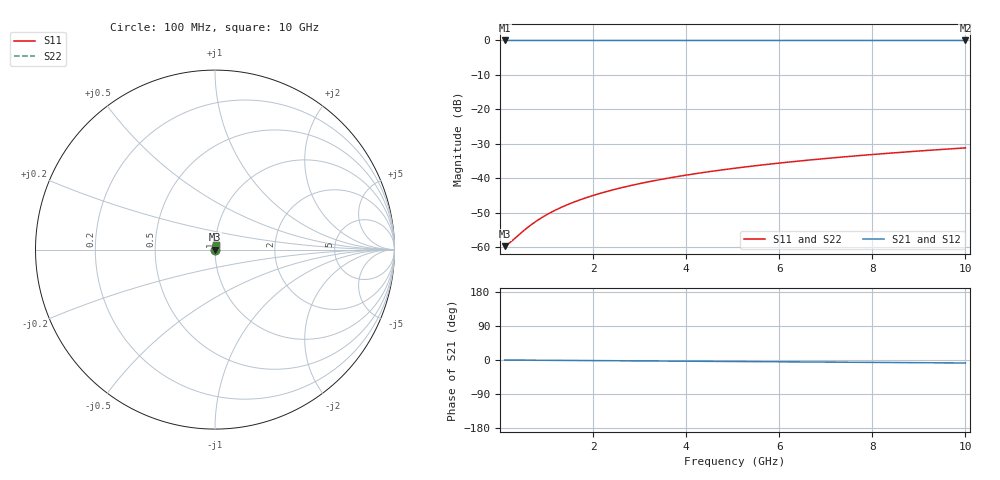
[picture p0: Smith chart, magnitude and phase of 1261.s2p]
# Hz S RI R 50.00
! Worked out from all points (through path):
!   100 points, 100 MHz to 10 GHz, reference 50 ohm
!   highest |S21| = -0.01 dB at 100 MHz (marker M1); lowest = 0.0 dB at 10 GHz (marker M2)
!   group delay of S21, straight-line fit = 2.19 ps
!   lowest |S11| = -59.7 dB at 100 MHz (marker M3), VSWR 1.00, Z = 50.1 + j0.0276 ohm
!   |S11| at or under -10 dB: start of sweep to end of sweep
!   |S22| runs from -59.7 to -31.2 dB; largest |S21 - S12| = 0
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1e8  0.001 0.000276  0.999 -0.00137  0.999 -0.00137  0.001 0.000276
2e8  0.00101 0.000551  0.999 -0.00275  0.999 -0.00275  0.00101 0.000551
5e8  0.00103 0.00138  0.999 -0.00687  0.999 -0.00687  0.00103 0.00138
6e8  0.00103 0.00165  0.9989 -0.00824  0.9989 -0.00824  0.00103 0.00165
7e8  0.00104 0.00193  0.9989 -0.00961  0.9989 -0.00961  0.00104 0.00193
9e8  0.00106 0.00248  0.9989 -0.0124  0.9989 -0.0124  0.00106 0.00248
1.1e9  0.00108 0.00303  0.9988 -0.0151  0.9988 -0.0151  0.00108 0.00303
1.3e9  0.0011 0.00358  0.9988 -0.0178  0.9988 -0.0178  0.0011 0.00358
1.5e9  0.00112 0.00413  0.9987 -0.0206  0.9987 -0.0206  0.00112 0.00413
1.8e9  0.00116 0.00496  0.9986 -0.0247  0.9986 -0.0247  0.00116 0.00496
2.1e9  0.00121 0.00579  0.9985 -0.0288  0.9985 -0.0288  0.00121 0.00579
2.5e9  0.00128 0.00688  0.9983 -0.0343  0.9983 -0.0343  0.00128 0.00688
2.9e9  0.00137 0.00798  0.9981 -0.0398  0.9981 -0.0398  0.00137 0.00798
3.4e9  0.00149 0.00936  0.9978 -0.0467  0.9978 -0.0467  0.00149 0.00936
3.8e9  0.0016 0.0105  0.9975 -0.0522  0.9975 -0.0522  0.0016 0.0105
4.2e9  0.00173 0.0115  0.9972 -0.0577  0.9972 -0.0577  0.00173 0.0115
5.1e9  0.00205 0.014  0.9963 -0.07  0.9963 -0.07  0.00205 0.014
5.9e9  0.00239 0.0162  0.9954 -0.081  0.9954 -0.081  0.00239 0.0162
6.7e9  0.00277 0.0184  0.9944 -0.092  0.9944 -0.092  0.00277 0.0184
7.5e9  0.00321 0.0205  0.9933 -0.1029  0.9933 -0.1029  0.00321 0.0205
8.4e9  0.00375 0.0229  0.9919 -0.1152  0.9919 -0.1152  0.00375 0.0229
1e10  0.00487 0.0272  0.989 -0.1371  0.989 -0.1371  0.00487 0.0272
